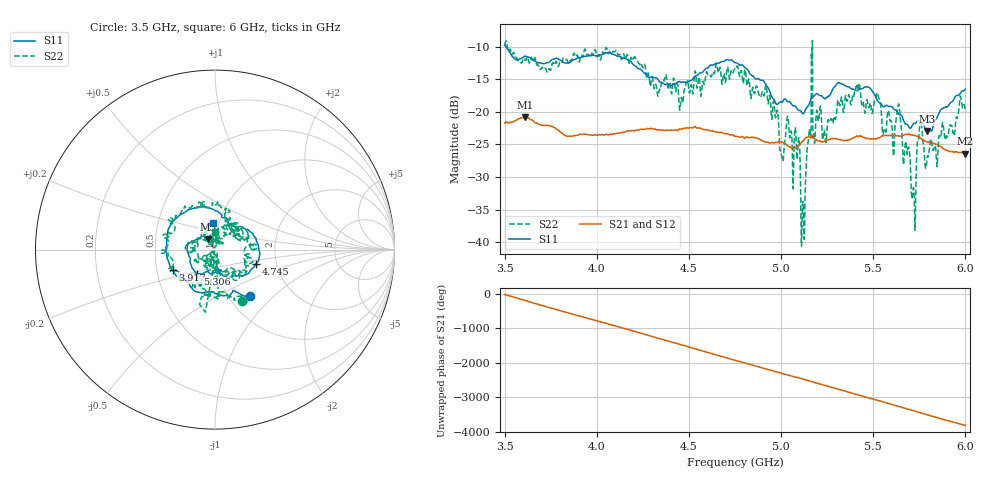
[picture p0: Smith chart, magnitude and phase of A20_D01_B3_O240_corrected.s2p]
! Created with skrf 1.9.0 (http://scikit-rf.org).
# Hz S RI R 50.0
!freq ReS11 ImS11 ReS21 ImS21 ReS12 ImS12 ReS22 ImS22
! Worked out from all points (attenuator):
!   1601 points, 3.5 GHz to 6 GHz, reference 50 ohm
!   highest |S21| = -20.84 dB at 3.611 GHz (marker M1); lowest = -26.4 dB at 6 GHz (marker M2)
!   lowest |S11| = -23.0 dB at 5.791 GHz (marker M3), VSWR 1.15, Z = 45.8 + j5.36 ohm
!   |S11| at or under -10 dB: 3.506 GHz to end of sweep
!   |S22| runs from -40.6 to -9.0 dB; largest |S21 - S12| = 0.0013
!   S11 on the Smith chart (normalised r, x): 3.5 GHz: 1.25, -0.73; 3.917 GHz: 0.60, -0.15; 4.745 GHz: 1.56, -0.26; 5.306 GHz: 0.79, -0.22; 6 GHz: 0.94, +0.29
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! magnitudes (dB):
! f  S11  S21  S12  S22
! 3.5 GHz  -9.8  -21.7  -21.7  -9.8
! 3.611 GHz  -11.4  -20.8  -20.9  -12.0
! 3.917 GHz  -11.6  -23.5  -23.5  -11.3
! 4.211 GHz  -13.0  -22.8  -22.9  -11.8
! 4.334 GHz  -15.1  -22.8  -22.7  -17.4
! 4.745 GHz  -12.4  -23.7  -23.6  -13.5
! 4.75 GHz  -12.4  -23.8  -23.7  -13.4
! 4.927 GHz  -16.2  -24.6  -24.6  -17.9
! 5.003 GHz  -18.5  -24.6  -24.7  -26.8
! 5.033 GHz  -18.4  -25.2  -25.1  -20.9
! 5.086 GHz  -19.5  -25.4  -25.4  -27.3
! 5.119 GHz  -20.3  -24.5  -24.4  -33.7
! 5.167 GHz  -17.8  -23.7  -23.6  -11.2
! 5.236 GHz  -17.9  -24.5  -24.5  -23.0
! 5.306 GHz  -15.6  -24.2  -24.1  -18.5
! 5.417 GHz  -16.7  -23.8  -23.8  -16.3
! 5.584 GHz  -19.2  -23.6  -23.6  -19.9
! 5.641 GHz  -20.4  -23.7  -23.7  -19.1
! 5.717 GHz  -21.8  -23.6  -23.5  -31.6
! 5.752 GHz  -21.4  -23.9  -23.9  -22.3
! 5.791 GHz  -23.0  -24.6  -24.6  -27.5
! 6 GHz  -16.5  -26.4  -26.4  -19.9
